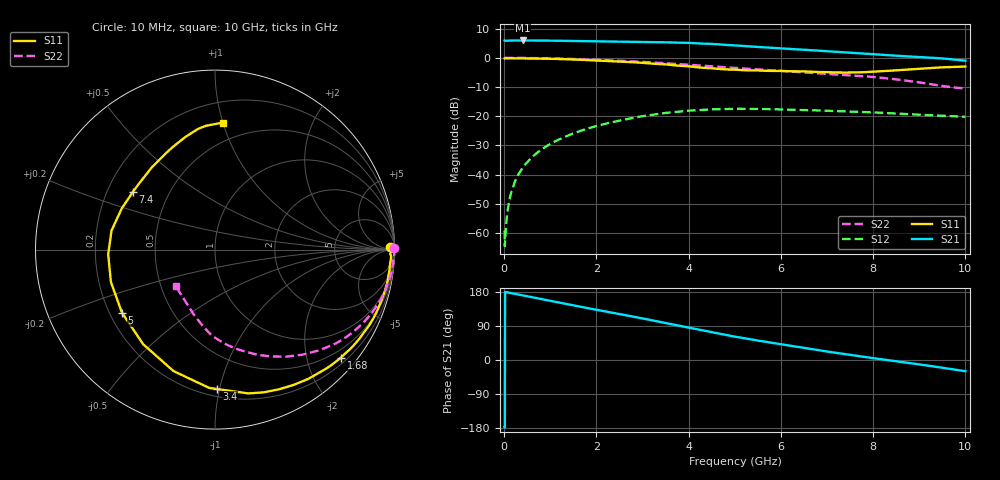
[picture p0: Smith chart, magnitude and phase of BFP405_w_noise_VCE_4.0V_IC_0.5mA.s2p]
! Infineon Technologies  Discrete & RF Semiconductors
! BFP405
! VCE =  4.0 V,  IC =  0.5 mA
! Common Emitter S-Parameters:  Jan 2016
# GHz  S  MA  R  50
!  f  S11  S21  S12  S22
! GHz  MAG  ANG  MAG  ANG  MAG  ANG  MAG  ANG
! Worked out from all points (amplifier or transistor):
!   233 points, 10 MHz to 10 GHz, reference 50 ohm
!   highest |S21| = 5.9 dB at 400 MHz (marker M1)
!   |S21| within 3 dB of that: start of sweep to 6.298 GHz
!   unconditionally stable (mu >= 1): 5.642 GHz to end of sweep
!   at 200 MHz: K = 0.03, MSG = 24.9 dB, |S12| = -43.9 dB
!   at 1.74 GHz: K = 0.16, MSG = 15.1 dB, |S12| = -24.6 dB
!   at 10 GHz: K = 2.42, MAG = 2.9 dB, |S12| = -20.2 dB
!   lowest NFmin = 0.78 dB at 900 MHz
!   S11 on the Smith chart (normalised r, x): 10 MHz: 54, +39; 1.68 GHz: 0.32, -2.67; 3.4 GHz: 0.25, -0.98; 5 GHz: 0.25, -0.29; 7.4 GHz: 0.31, +0.29; 10 GHz: 0.35, +1.00
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0.01  0.9758 1.0  1.973 -176.9  0.0011 -11.9  1 0.6
0.015  0.9812 0.4  1.963 -178.7  0.0006 24.2  0.998 0.5
0.02  0.9868 -0.2  1.956 179.4  0.0007 92.1  0.996 0.3
0.055  0.9771 -1.4  1.952 179.1  0.0018 81.2  0.9991 -0.4
0.08  0.98 -1.8  1.961 178.2  0.0026 84.8  0.9995 -0.8
0.14  0.9812 -3.2  1.968 176.9  0.0046 86.7  0.9983 -1.8
0.26  0.9782 -6.0  1.976 174.0  0.0085 86.7  0.9913 -3.5
0.4  0.9779 -9.4  1.978 170.6  0.0131 84.6  0.993 -5.2
0.9  0.9653 -21.2  1.969 158.6  0.0301 78.3  0.98 -11.8
1.68  0.9242 -40.6  1.936 140.1  0.0571 66.2  0.9427 -21.8
2.6  0.8565 -65.3  1.885 118.9  0.0878 50.8  0.8835 -32.9
3.4  0.7768 -89.2  1.846 100.0  0.111 36.1  0.8162 -42.7
4  0.7151 -108.9  1.799 85.4  0.1246 25.0  0.761 -50.3
4.5  0.6619 -127.2  1.728 73.3  0.1315 15.8  0.7154 -56.5
5  0.6265 -145.8  1.634 61.6  0.1341 7.2  0.6713 -62.5
5.1  0.6184 -149.1  1.61 59.6  0.1338 5.7  0.6633 -63.5
6  0.5957 -177.4  1.447 41.5  0.1311 -6.8  0.5979 -72.7
6.8  0.5715 161.7  1.325 26.3  0.1257 -15.0  0.5455 -80.9
7.4  0.5591 144.8  1.233 15.2  0.1211 -20.3  0.5078 -87.1
8.4  0.6028 116.9  1.097 -1.7  0.1122 -27.4  0.4363 -98.2
9.4  0.6796 97.9  0.986 -18.6  0.1026 -31.0  0.3388 -117.8
10  0.7094 86.4  0.892 -29.6  0.0981 -31.3  0.2983 -137.3
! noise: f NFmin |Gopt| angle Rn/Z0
0.9  0.78  0.8  16  0.85
1.8  1.31  0.68  35  0.8
2.4  1.61  0.59  48  0.67
3  1.86  0.58  63  0.64
4  2.16  0.46  92  0.41
5  2.4  0.46  126  0.24
